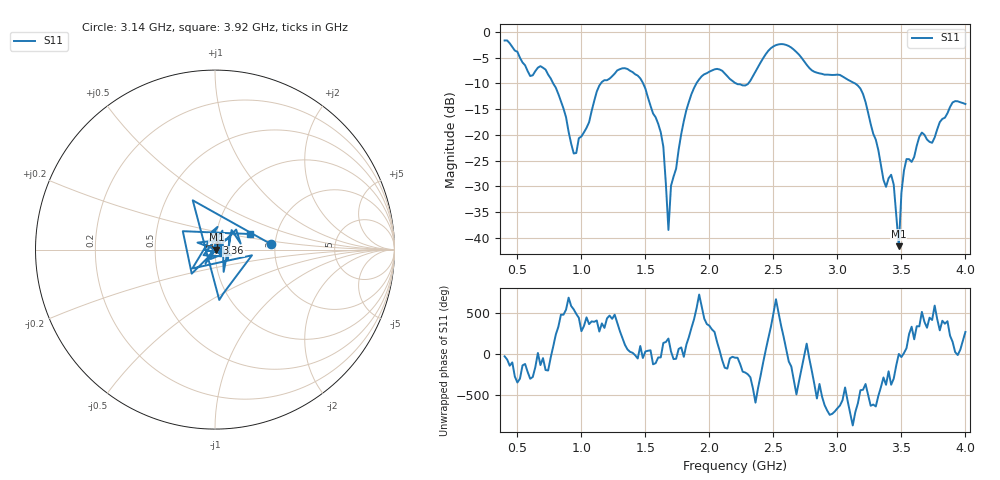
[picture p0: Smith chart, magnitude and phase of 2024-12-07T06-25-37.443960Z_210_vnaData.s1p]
!Created with skrf (http://scikit-rf.org).
# Hz S RI R 50.0
!freq ReS11 ImS11
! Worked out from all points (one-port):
!   181 points, 400 MHz to 4 GHz, reference 50 ohm
!   lowest |S11| = -41.6 dB at 3.48 GHz (marker M1), VSWR 1.02, Z = 50.8 + j0.0121 ohm
!   |S11| at or under -10 dB: 779.5 MHz to 1.152 GHz (372.5 MHz wide, 38.6 % of centre); 1.482 GHz to 1.898 GHz (416.2 MHz wide, 24.6 % of centre); 3.137 GHz to end of sweep (the widest 3 of 4)
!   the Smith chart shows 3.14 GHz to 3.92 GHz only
!   S11 on the Smith chart (normalised r, x): 3.14 GHz: 1.91, +0.13; 3.36 GHz: 1.02, +0.07; 3.92 GHz: 1.45, +0.26
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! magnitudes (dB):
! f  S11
! 400 MHz  -1.7
! 600 MHz  -8.6
! 720 MHz  -7.3
! 860 MHz  -14.9
! 960 MHz  -23.5
! 1.14 GHz  -10.4
! 1.3 GHz  -7.2
! 1.46 GHz  -9.0
! 1.62 GHz  -19.5
! 1.64 GHz  -22.3
! 1.68 GHz  -38.5
! 1.7 GHz  -29.9
! 1.76 GHz  -22.8
! 1.84 GHz  -13.6
! 1.94 GHz  -8.6
! 2.2 GHz  -9.9
! 2.66 GHz  -3.4
! 3.1 GHz  -9.5
! 3.14 GHz  -10.0
! 3.22 GHz  -13.6
! 3.36 GHz  -28.8
! 3.44 GHz  -29.7
! 3.48 GHz  -41.6
! 3.5 GHz  -31.3
! 3.52 GHz  -26.9
! 3.56 GHz  -24.7
! 3.92 GHz  -13.4
! 4 GHz  -14.0
